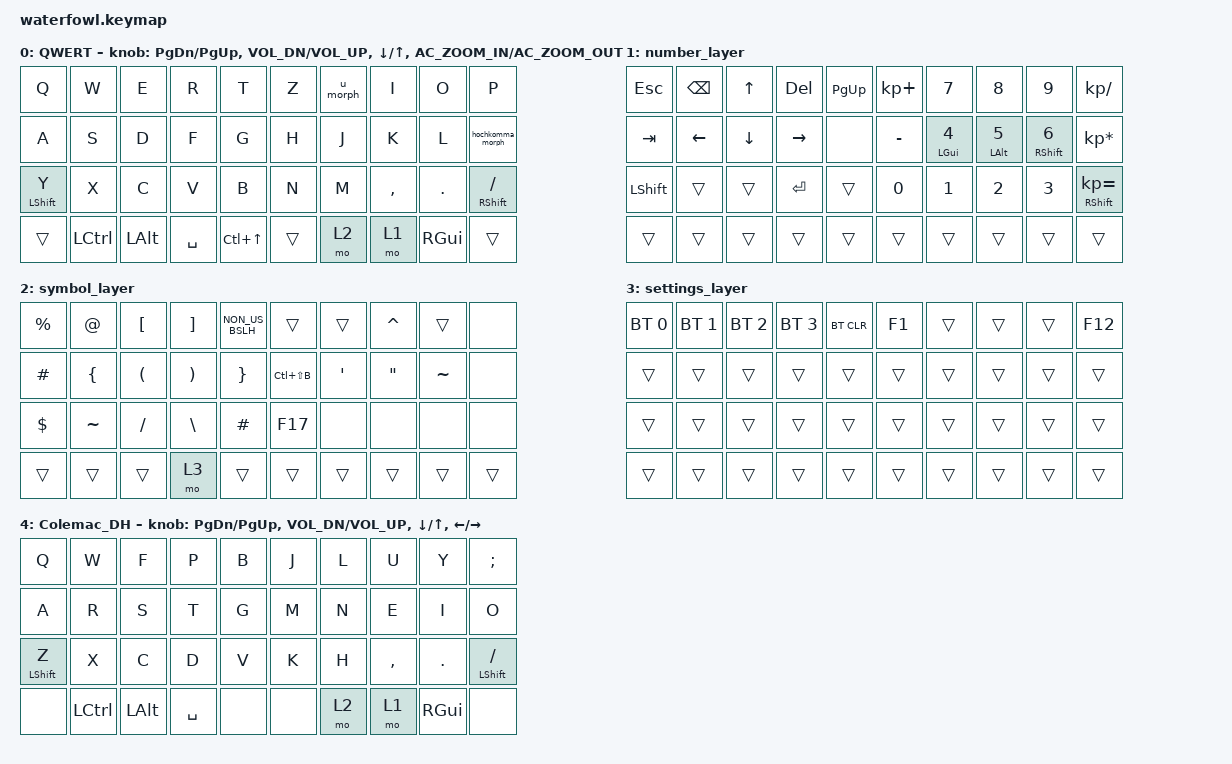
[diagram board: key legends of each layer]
/*
 * Copyright (c) 2020 The ZMK Contributors
 *
 * SPDX-License-Identifier: MIT
 */

#include <behaviors.dtsi>
#include <dt-bindings/zmk/bt.h>
#include <dt-bindings/zmk/keys.h>

/ { quick_tap_ms = <200>; };

/ {
    behaviors {
        LShift_kp: LShift_kp {
            compatible = "zmk,behavior-hold-tap";
            label = "LSHIFT_KP";
            bindings = <&kp>, <&kp>;

            #binding-cells = <2>;
            tapping-term-ms = <150>;
            hold-trigger-key-positions = <29 25 15 5 6 16 26 27 17 7 8 18 28 19 9>;
            flavor = "balanced";
            hold-trigger-on-release;
        };

        cursor_left: cursor_left {
            compatible = "zmk,behavior-tap-dance";
            label = "CURSOR_LEFT";
            #binding-cells = <0>;
            bindings = <&kp LEFT_ARROW>, <&kp LA(LEFT_ARROW)>, <&kp HOME>;

            tapping-term-ms = <180>;
        };

        cursor_right: cursor_right {
            compatible = "zmk,behavior-tap-dance";
            label = "CURSOR_RIGHT";
            #binding-cells = <0>;
            bindings = <&kp RIGHT>, <&kp LA(RIGHT)>, <&kp END>;

            tapping-term-ms = <180>;
        };

        Umlauts: Umlauts {
            compatible = "zmk,behavior-tap-dance";
            label = "UMLAUTS";
            #binding-cells = <0>;
            bindings = <&kp U>, <&kp RA(U)>;

            tapping-term-ms = <180>;
        };

        hochkomma: hochkomma {
            compatible = "zmk,behavior-tap-dance";
            label = "HOCHKOMMA";
            #binding-cells = <0>;
            bindings = <&kp SEMICOLON>, <&kp SQT>, <&kp DQT>;

            tapping-term-ms = <270>;
        };

        RShift_kp: RShift_kp {
            compatible = "zmk,behavior-hold-tap";
            label = "RSHIFT_KP";
            bindings = <&kp>, <&kp>;

            #binding-cells = <2>;
            tapping-term-ms = <150>;
            flavor = "balanced";
            hold-trigger-on-release;
            hold-trigger-key-positions = <24 14 4 3 13 23 22 12 2 1 11 21 20 10 0>;
        };

        hochkomma_morph: hochkomma_morph {
            compatible = "zmk,behavior-mod-morph";
            label = "HOCHKOMMA_MORPH";
            bindings = <&hochkomma>, <&kp LS(SEMI)>;

            #binding-cells = <0>;
            mods = <(MOD_LSFT|MOD_RSFT)>;
        };

        u_morph: u_morph {
            compatible = "zmk,behavior-mod-morph";
            label = "U_MORPH";
            bindings = <&Umlauts>, <&kp LS(U)>;

            #binding-cells = <0>;
            mods = <(MOD_LSFT|MOD_RSFT)>;
        };

        nav_cmd: nav_cmd {
            compatible = "zmk,behavior-hold-tap";
            label = "NAV_CMD";
            bindings = <&kp>, <&kp>;

            #binding-cells = <2>;
            flavor = "balanced";
            tapping-term-ms = <200>;
            quick-tap-ms = <150>;
            require-prior-idle-ms = <120>;
            hold-trigger-key-positions = <1 2 3 11 12 13 4 10>;
        };
    };

    keymap {
        compatible = "zmk,keymap";

        QWERT {
            /* GAME
 *
 * ,----------------------------------.                      ,----------------------------------.
 * |  ESC |   Q  |   W  |   E  |   R  |                      |      |      |      |      |      |
 * |------+------+------+------+------|                      |------+------+------+------+------|
 * |Shift |   A  |   S  |   D  |   F  |                      |      |      |      |      |      |
 * |------+------+------+------+------|  ,-----.    ,-----.  |------+------+------+------+------|
 * | Ctrl |   Z  |   X  |   C  |   V  |  |CPSLK|    |NUMLK|  |      |      |      |      |      |
 * `----------------------------------'  `-----'    `-----'  `----------------------------------'
 *          ,-----.   ,--------------------.            ,--------------------.   ,-----. 
 *          |  1  |   |  TAB  | SPACE |    |            |       | BS |       |   |  4  |
 *          `-----'   `--------------------'            `--------------------'   `-----'
 */

            bindings = <
&kp Q                    &kp W             &kp E         &kp R      &kp T             &kp Z   &u_morph  &kp I      &kp O          &kp P
&kp A                    &kp S             &kp D         &kp F      &kp G             &kp H   &kp J     &kp K      &kp L          &hochkomma_morph
&LShift_kp LEFT_SHIFT Y  &kp X             &kp C         &kp V      &kp B             &kp N   &kp M     &kp COMMA  &kp PERIOD     &RShift_kp RIGHT_SHIFT SLASH
&trans                   &kp LEFT_CONTROL  &kp LEFT_ALT  &kp SPACE  &kp LC(UP_ARROW)  &trans  &mo 2     &mo 1      &kp RIGHT_GUI  &trans
            >;

            sensor-bindings = <
                            &inc_dec_kp PAGE_DOWN PAGE_UP
                            &inc_dec_kp C_VOL_DN C_VOL_UP
                            &inc_dec_kp DOWN UP
                            &inc_dec_kp C_AC_ZOOM_IN C_AC_ZOOM_OUT
            >;
        };

        number_layer {
            /* NUM
 *
 * ,----------------------------------.                      ,----------------------------------.
 * |  ESC |  F10 |  F11 |  F12 |	  	|                      |   /  |   7  |   8  |   9  |   -  |
 * |------+------+------+------+------|                      |------+------+------+------+------|
 * |  GUI |  ALT | CTRL | SHIFT|  TAB |                      |   =  |   4  |   5  |   6  |   +  |
 * |------+------+------+------+------|  ,-----.    ,-----.  |------+------+------+------+------|
 * |  RET |  F7  |  F8  |  F9  |      |  |CPSLK|    |NUMLK|  |   0  |   1  |   2  |   3  |   *  |
 * `----------------------------------'  `-----'    `-----'  `----------------------------------'
 *          ,-----.   ,--------------------.            ,--------------------.   ,-----. 
 *          |  1  |   | NUM | SPACE |  	   |            |      | DEL |  NAV  |   |  4  |
 *          `-----'   `--------------------'            `--------------------'   `-----'
 */

            bindings = <
&kp ESC         &kp BACKSPACE   &kp UP_ARROW    &kp DELETE       &kp PG_UP  &kp KP_PLUS  &kp N7                &kp N8                &kp N9                         &kp KP_DIVIDE
&kp TAB         &kp LEFT_ARROW  &kp DOWN_ARROW  &kp RIGHT_ARROW  &none      &kp MINUS    &nav_cmd LEFT_GUI N4  &nav_cmd LEFT_ALT N5  &nav_cmd RIGHT_SHIFT NUMBER_6  &kp KP_ASTERISK
&kp LEFT_SHIFT  &trans          &trans          &kp RET          &trans     &kp N0       &kp N1                &kp N2                &kp N3                         &mt RIGHT_SHIFT KP_EQUAL
&trans          &trans          &trans          &trans           &trans     &trans       &trans                &trans                &trans                         &trans
            >;

            //            sensor-bindings = <
            //                &inc_dec_kp PAGE_DOWN PAGE_UP
            //                &inc_dec_kp C_VOL_DN C_VOL_UP
            //                &inc_dec_kp DOWN UP
            //                &inc_dec_kp LEFT RIGHT
            //            >;
        };

        symbol_layer {
            /* SYM
 *
 * ,----------------------------------.                      ,----------------------------------.
 * |   %  |   @  |   [  |   ]  |   \  |                      |       |     |   ^  |      |      |
 * |------+------+------+------+------|                      |------+------+------+------+------|
 * |   #  |   !  |   (  |   )  |   |  |                      |   _  |   '  |   "  |   ~  |   `  |
 * |------+------+------+------+------|  ,-----.    ,-----.  |------+------+------+------+------|
 * |   $  |      |   {  |   }  |   &  |  |CPSLK|    |NUMLK|  |      |      |      |      |      |
 * `----------------------------------'  `-----'    `-----'  `----------------------------------'
 *          ,-----.   ,--------------------.            ,--------------------.   ,-----. 
 *          |  1  |   | NUM | SPACE |      |            |       | BS |  NAV  |   |  4  |
 *          `-----'   `--------------------'            `--------------------'   `-----'
 */

            bindings = <
&kp PRCNT  &kp AT          &kp LBKT   &kp RBKT       &kp NON_US_BSLH  &trans         &trans    &kp CARET          &trans     &none
&kp HASH   &kp LEFT_BRACE  &kp LPAR   &kp RPAR       &kp RIGHT_BRACE  &kp LC(LS(B))  &kp APOS  &kp DOUBLE_QUOTES  &kp TILDE  &none
&kp DLLR   &kp TILDE       &kp SLASH  &kp BACKSLASH  &kp HASH         &kp F17        &none     &none              &none      &none
&trans     &trans          &trans     &mo 3          &trans           &trans         &trans    &trans             &trans     &trans
            >;

            //            sensor-bindings = <
            //                &inc_dec_kp PAGE_DOWN PAGE_UP
            //                &inc_dec_kp C_VOL_DN C_VOL_UP
            //                &inc_dec_kp DOWN UP
            //                &inc_dec_kp LEFT RIGHT
            //            >;
        };

        settings_layer {
            bindings = <
&bt BT_SEL 0  &bt BT_SEL 1  &bt BT_SEL 2  &bt BT_SEL 3  &bt BT_CLR  &kp F1  &trans  &trans  &trans  &kp F12
&trans        &trans        &trans        &trans        &trans      &trans  &trans  &trans  &trans  &trans
&trans        &trans        &trans        &trans        &trans      &trans  &trans  &trans  &trans  &trans
&trans        &trans        &trans        &trans        &trans      &trans  &trans  &trans  &trans  &trans
            >;
        };

        Colemac_DH {
            /* Colemak-DH
 *
 * ,----------------------------------.                      ,----------------------------------.
 * |   Q  |   W  |   F  |   P  |   B  |                      |   J  |   L  |   U  |   Y  |   ;  |
 * |------+------+------+------+------|                      |------+------+------+------+------|
 * |   A  |   R  |   S  |   T  |   G  |                      |   M  |   N  |   E  |   I  |   O  |
 * |------+------+------+------+------|  ,-----.    ,-----.  |------+------+------+------+------|
 * |   Z  |   X  |   C  |   D  |   V  |  |CPSLK|    |NUMLK|  |   K  |   H  |   ,  |   .  |   /  |
 * `----------------------------------'  `-----'    `-----'  `----------------------------------'
 *          ,-----.   ,--------------------.            ,--------------------.   ,-----. 
 *          |  1  |   | NUM | SPACE | 	   |            |       | BS |  NAV  |   |  4  |
 *          `-----'   `--------------------'            `--------------------'   `-----'
 */

            bindings = <
&kp Q                    &kp W             &kp F         &kp P      &kp B  &kp J  &kp L  &kp U      &kp Y          &kp SEMI
&kp A                    &kp R             &kp S         &kp T      &kp G  &kp M  &kp N  &kp E      &kp I          &kp O
&LShift_kp LEFT_SHIFT Z  &kp X             &kp C         &kp D      &kp V  &kp K  &kp H  &kp COMMA  &kp DOT        &LShift_kp LEFT_SHIFT SLASH
&none                    &kp LEFT_CONTROL  &kp LEFT_ALT  &kp SPACE  &none  &none  &mo 2  &mo 1      &kp RIGHT_GUI  &none
            >;

            sensor-bindings = <
                            &inc_dec_kp PAGE_DOWN PAGE_UP
                            &inc_dec_kp C_VOL_DN C_VOL_UP
                            &inc_dec_kp DOWN UP
                            &inc_dec_kp LEFT RIGHT
            >;

            //sensor-bindings = <&inc_dec_kp 0 0>, <&inc_dec_kp 0 0>;
        };
    };
};

/ {
    conditional_layers { compatible = "zmk,conditional-layers"; };
};

/ {
    combos {
        compatible = "zmk,combos";

        copy {
            bindings = <&kp LG(C)>;
            key-positions = <12 13>;
            layers = <4 0>;
        };

        past {
            bindings = <&kp RG(V)>;
            key-positions = <2 3>;
            layers = <4 0>;
        };

        delete {
            bindings = <&kp RG(BACKSPACE)>;
            key-positions = <3 4 2>;
        };

        space_cadet {
            bindings = <&caps_word>;
            key-positions = <10 19>;
            layers = <0 4>;
        };

        Lock_Mac {
            bindings = <&kp LC(RG(Q))>;
            key-positions = <0 1>;
            layers = <0>;
        };

        Input_Alpha {
            bindings = <&Input_Alpha>;
            key-positions = <8 9>;
            layers = <1>;
        };
    };
};

/ {
    macros {
        zed_em_kay: zed_em_kay {
            label = "ZM_zed_em_kay";
            compatible = "zmk,behavior-macro";
            #binding-cells = <0>;
            wait-ms = <40>;
            tap-ms = <40>;
            bindings =
                <&macro_press>,
                <&kp F13 &kp KP_N1 &kp KP_N6 &kp KP_N3>,
                <&macro_release>,
                <&kp LALT>;
        };

        Input_Alpha: Input_Alpha {
            compatible = "zmk,behavior-macro";
            #binding-cells = <0>;
            bindings = <&kp LS(N) &kp E &kp X &kp I &kp G &kp O &kp LS(T) &kp O &kp N &kp O &kp R &kp N2 &kp N0 &kp N2 &kp N6>;
            label = "INPUT_ALPHA";
        };
    };
};
